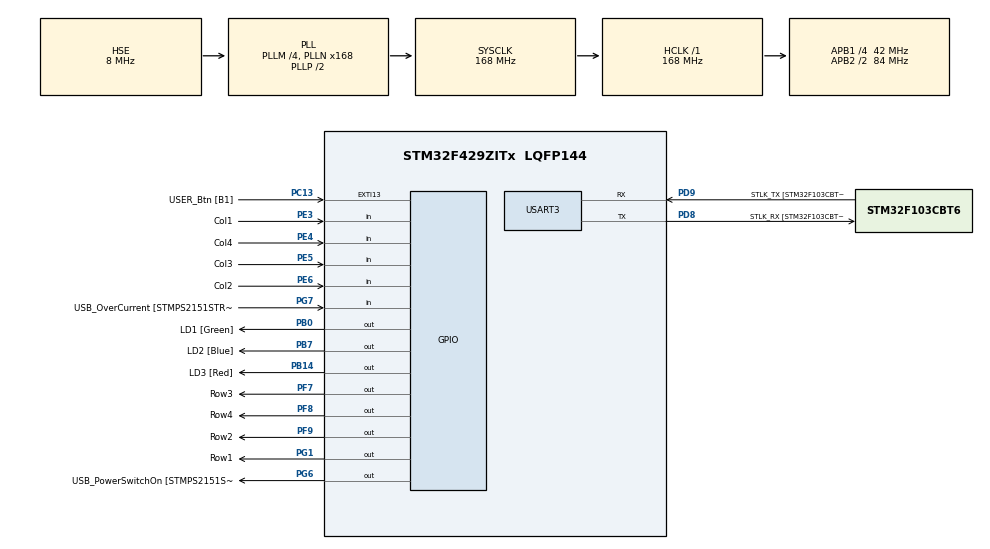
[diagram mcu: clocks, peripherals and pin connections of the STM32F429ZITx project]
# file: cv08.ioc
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Mcu.Family=STM32F4
Mcu.Name=STM32F429ZITx
Mcu.Package=LQFP144
NVIC.PriorityGroup=NVIC_PRIORITYGROUP_4
NVIC.TIM3_IRQn=true\:0\:0\:false\:false\:true\:true\:true
PA1.GPIO_Label=RMII_REF_CLK [LAN8742A-CZ-TR_REFCLK0]
PA1.Signal=ETH_REF_CLK
PA10.GPIO_Label=USB_ID
PA10.Signal=USB_OTG_FS_ID
PA11.GPIO_Label=USB_DM
PA11.Signal=USB_OTG_FS_DM
PA12.GPIO_Label=USB_DP
PA12.Signal=USB_OTG_FS_DP
PA13.GPIO_Label=TMS
PA13.Mode=Serial_Wire
PA13.Signal=SYS_JTMS-SWDIO
PA14.GPIO_Label=TCK
PA14.Mode=Serial_Wire
PA14.Signal=SYS_JTCK-SWCLK
PA2.GPIO_Label=RMII_MDIO [LAN8742A-CZ-TR_MDIO]
PA2.Signal=ETH_MDIO
PA7.GPIO_Label=RMII_CRS_DV [LAN8742A-CZ-TR_CRS_DV]
PA7.Signal=ETH_CRS_DV
PA8.GPIO_Label=USB_SOF [TP1]
PA8.Signal=USB_OTG_FS_SOF
PA9.GPIO_Label=USB_VBUS
PA9.Signal=USB_OTG_FS_VBUS
PB0.GPIO_Label=LD1 [Green]
PB0.Signal=GPIO_Output
PB13.GPIO_Label=RMII_TXD1 [LAN8742A-CZ-TR_TXD1]
PB13.Signal=ETH_TXD1
PB14.GPIO_Label=LD3 [Red]
PB14.Signal=GPIO_Output
PB7.GPIO_Label=LD2 [Blue]
PB7.Signal=GPIO_Output
PC1.GPIO_Label=RMII_MDC [LAN8742A-CZ-TR_MDC]
PC1.Signal=ETH_MDC
PC13.GPIO_Label=USER_Btn [B1]
PC13.Signal=GPXTI13
PC14/OSC32_IN.Mode=LSE-External-Oscillator
PC14/OSC32_IN.Signal=RCC_OSC32_IN
PC15/OSC32_OUT.Mode=LSE-External-Oscillator
PC15/OSC32_OUT.Signal=RCC_OSC32_OUT
PC4.GPIO_Label=RMII_RXD0 [LAN8742A-CZ-TR_RXD0]
PC4.Signal=ETH_RXD0
PC5.GPIO_Label=RMII_RXD1 [LAN8742A-CZ-TR_RXD1]
PC5.Signal=ETH_RXD1
PD8.GPIO_Label=STLK_RX [STM32F103CBT6_PA3]
PD8.Mode=Asynchronous
PD8.Signal=USART3_TX
PD9.GPIO_Label=STLK_TX [STM32F103CBT6_PA2]
PD9.Mode=Asynchronous
PD9.Signal=USART3_RX
PE3.GPIO_Label=Col1
PE3.GPIO_PuPd=GPIO_PULLUP
PE3.Signal=GPIO_Input
PE4.GPIO_Label=Col4
PE4.GPIO_PuPd=GPIO_PULLUP
PE4.Signal=GPIO_Input
PE5.GPIO_Label=Col3
PE5.GPIO_PuPd=GPIO_PULLUP
PE5.Signal=GPIO_Input
PE6.GPIO_Label=Col2
PE6.GPIO_PuPd=GPIO_PULLUP
PE6.Signal=GPIO_Input
PF7.GPIO_Label=Row3
PF7.GPIO_ModeDefaultOutputPP=GPIO_MODE_OUTPUT_OD
PF7.Signal=GPIO_Output
PF8.GPIO_Label=Row4
PF8.GPIO_ModeDefaultOutputPP=GPIO_MODE_OUTPUT_OD
PF8.Signal=GPIO_Output
PF9.GPIO_Label=Row2
PF9.GPIO_ModeDefaultOutputPP=GPIO_MODE_OUTPUT_OD
PF9.Signal=GPIO_Output
PG1.GPIO_Label=Row1
PG1.GPIO_ModeDefaultOutputPP=GPIO_MODE_OUTPUT_OD
PG1.Signal=GPIO_Output
PG11.GPIO_Label=RMII_TX_EN [LAN8742A-CZ-TR_TXEN]
PG11.Signal=ETH_TX_EN
PG13.GPIO_Label=RMII_TXD0 [LAN8742A-CZ-TR_TXD0]
PG13.Signal=ETH_TXD0
PG6.GPIO_Label=USB_PowerSwitchOn [STMPS2151STR_EN]
PG6.Signal=GPIO_Output
PG7.GPIO_Label=USB_OverCurrent [STMPS2151STR_FAULT]
PG7.Signal=GPIO_Input
PH0/OSC_IN.GPIO_Label=MCO [STM32F103CBT6_PA8]
PH0/OSC_IN.Mode=HSE-External-Clock-Source
PH0/OSC_IN.Signal=RCC_OSC_IN
PH1/OSC_OUT.Mode=HSE-External-Clock-Source
PH1/OSC_OUT.Signal=RCC_OSC_OUT
ProjectManager.HeapSize=0x200
ProjectManager.StackSize=0x400
ProjectManager.TargetToolchain=STM32CubeIDE
RCC.48MHZClocksFreq_Value=48000000
RCC.AHBFreq_Value=168000000
RCC.APB1CLKDivider=RCC_HCLK_DIV4
RCC.APB1Freq_Value=42000000
RCC.APB1TimFreq_Value=84000000
RCC.APB2CLKDivider=RCC_HCLK_DIV2
RCC.APB2Freq_Value=84000000
RCC.APB2TimCLKDivider=2
RCC.APB2TimFreq_Value=168000000
RCC.CortexFreq_Value=168000000
RCC.HCLKFreq_Value=168000000
RCC.HSE_VALUE=8000000
RCC.HSI_VALUE=16000000
RCC.PLLM=4
RCC.PLLMUL=RCC_PLL_MUL9
RCC.PLLN=168
RCC.PLLQ=7
RCC.PLLSourceVirtual=RCC_PLLSOURCE_HSE
RCC.PRESCALERUSB=RCC_USBCLKSOURCE_PLL_DIV1_5
RCC.SYSCLKFreq_VALUE=168000000
RCC.SYSCLKSource=RCC_SYSCLKSOURCE_PLLCLK
RCC.SYSCLKSourceVirtual=RCC_SYSCLKSOURCE_PLLCLK
RCC.USBFreq_Value=48000000
RCC.VCOOutputFreq_Value=336000000
TIM3.AutoReloadPreload=TIM_AUTORELOAD_PRELOAD_ENABLE
TIM3.Period=99
TIM3.Prescaler=8399
USART3.VirtualMode=VM_ASYNC
VP_TIM3_VS_ClockSourceINT.Mode=Internal
board=NUCLEO-F429ZI

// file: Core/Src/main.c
/* USER CODE BEGIN Header */
/**
  ******************************************************************************
  * @file           : main.c
  * @brief          : Main program body
  ******************************************************************************
  * @attention
  *
  * <h2><center>&copy; Copyright (c) 2021 STMicroelectronics.
  * All rights reserved.</center></h2>
  *
  * This software component is licensed by ST under BSD 3-Clause license,
  * the "License"; You may not use this file except in compliance with the
  * License. You may obtain a copy of the License at:
  *                        opensource.org/licenses/BSD-3-Clause
  *
  ******************************************************************************
  */
/* USER CODE END Header */
#include "main.h"

/* USER CODE BEGIN Includes */
#include "stdio.h"
/* USER CODE END Includes */

TIM_HandleTypeDef htim3;

UART_HandleTypeDef huart3;

/* USER CODE BEGIN PV */
static volatile int8_t key;
static volatile int8_t pos=0;
static const int16_t kod[] = { 7, 9, 3, 2, 12 };
/* USER CODE END PV */

void SystemClock_Config(void);
static void MX_GPIO_Init(void);
static void MX_USART3_UART_Init(void);
static void MX_TIM3_Init(void);
/* USER CODE BEGIN PFP */
void zamek(){

	uint32_t time;
	static uint32_t new_time;
	time=HAL_GetTick();

	if(time>new_time){
		new_time=time+3000;
		pos=0;
	}

	if (key == kod[pos]){
		pos++;
		new_time=time+3000;
		if (pos==sizeof(kod)){
			HAL_GPIO_WritePin(LD1_GPIO_Port,LD1_Pin,GPIO_PIN_SET);
			pos=0;
		}
	}
	else{
		pos = 0;
	}

}

/* USER CODE END PFP */

/* USER CODE BEGIN 0 */
int __io_putchar(int ch)
{
 ITM_SendChar(ch);
return 0;
}

/* USER CODE END 0 */

int main(void)
{

  /* MCU Configuration--------------------------------------------------------*/

  /* Reset of all peripherals, Initializes the Flash interface and the Systick. */
  HAL_Init();

  /* Configure the system clock */
  SystemClock_Config();

  /* Initialize all configured peripherals */
  MX_GPIO_Init();
  MX_USART3_UART_Init();
  MX_TIM3_Init();
  /* USER CODE BEGIN 2 */
  HAL_TIM_Base_Start_IT(&htim3);
  /* USER CODE END 2 */

  /* Infinite loop */
  while (1)
  {

    /* USER CODE BEGIN 3 */
/*	  HAL_GPIO_TogglePin(LD1_GPIO_Port, LD1_Pin);
	  HAL_Delay(250);
	  printf("Tick\n");*/

	  if (key != -1){
	  	printf("Stisknuto:%d\n", key);
	  	zamek();
	  	HAL_Delay(500);
	  	key = -1;
	  }

  }
  /* USER CODE END 3 */
}

void SystemClock_Config(void)
{
  RCC_OscInitTypeDef RCC_OscInitStruct = {0};
  RCC_ClkInitTypeDef RCC_ClkInitStruct = {0};

  /** Configure the main internal regulator output voltage
  */
  __HAL_RCC_PWR_CLK_ENABLE();
  __HAL_PWR_VOLTAGESCALING_CONFIG(PWR_REGULATOR_VOLTAGE_SCALE1);
  /** Initializes the RCC Oscillators according to the specified parameters
  * in the RCC_OscInitTypeDef structure.
  */
  RCC_OscInitStruct.OscillatorType = RCC_OSCILLATORTYPE_HSE;
  RCC_OscInitStruct.HSEState = RCC_HSE_BYPASS;
  RCC_OscInitStruct.PLL.PLLState = RCC_PLL_ON;
  RCC_OscInitStruct.PLL.PLLSource = RCC_PLLSOURCE_HSE;
  RCC_OscInitStruct.PLL.PLLM = 4;
  RCC_OscInitStruct.PLL.PLLN = 168;
  RCC_OscInitStruct.PLL.PLLP = RCC_PLLP_DIV2;
  RCC_OscInitStruct.PLL.PLLQ = 7;
  if (HAL_RCC_OscConfig(&RCC_OscInitStruct) != HAL_OK)
  {
    Error_Handler();
  }
  /** Initializes the CPU, AHB and APB buses clocks
  */
  RCC_ClkInitStruct.ClockType = RCC_CLOCKTYPE_HCLK|RCC_CLOCKTYPE_SYSCLK
                              |RCC_CLOCKTYPE_PCLK1|RCC_CLOCKTYPE_PCLK2;
  RCC_ClkInitStruct.SYSCLKSource = RCC_SYSCLKSOURCE_PLLCLK;
  RCC_ClkInitStruct.AHBCLKDivider = RCC_SYSCLK_DIV1;
  RCC_ClkInitStruct.APB1CLKDivider = RCC_HCLK_DIV4;
  RCC_ClkInitStruct.APB2CLKDivider = RCC_HCLK_DIV2;

  if (HAL_RCC_ClockConfig(&RCC_ClkInitStruct, FLASH_LATENCY_5) != HAL_OK)
  {
    Error_Handler();
  }
}

static void MX_TIM3_Init(void)
{

  TIM_ClockConfigTypeDef sClockSourceConfig = {0};
  TIM_MasterConfigTypeDef sMasterConfig = {0};

  htim3.Instance = TIM3;
  htim3.Init.Prescaler = 8399;
  htim3.Init.CounterMode = TIM_COUNTERMODE_UP;
  htim3.Init.Period = 99;
  htim3.Init.ClockDivision = TIM_CLOCKDIVISION_DIV1;
  htim3.Init.AutoReloadPreload = TIM_AUTORELOAD_PRELOAD_ENABLE;
  if (HAL_TIM_Base_Init(&htim3) != HAL_OK)
  {
    Error_Handler();
  }
  sClockSourceConfig.ClockSource = TIM_CLOCKSOURCE_INTERNAL;
  if (HAL_TIM_ConfigClockSource(&htim3, &sClockSourceConfig) != HAL_OK)
  {
    Error_Handler();
  }
  sMasterConfig.MasterOutputTrigger = TIM_TRGO_RESET;
  sMasterConfig.MasterSlaveMode = TIM_MASTERSLAVEMODE_DISABLE;
  if (HAL_TIMEx_MasterConfigSynchronization(&htim3, &sMasterConfig) != HAL_OK)
  {
    Error_Handler();
  }

}

static void MX_USART3_UART_Init(void)
{

  huart3.Instance = USART3;
  huart3.Init.BaudRate = 115200;
  huart3.Init.WordLength = UART_WORDLENGTH_8B;
  huart3.Init.StopBits = UART_STOPBITS_1;
  huart3.Init.Parity = UART_PARITY_NONE;
  huart3.Init.Mode = UART_MODE_TX_RX;
  huart3.Init.HwFlowCtl = UART_HWCONTROL_NONE;
  huart3.Init.OverSampling = UART_OVERSAMPLING_16;
  if (HAL_UART_Init(&huart3) != HAL_OK)
  {
    Error_Handler();
  }

}

static void MX_GPIO_Init(void)
{
  GPIO_InitTypeDef GPIO_InitStruct = {0};

  /* GPIO Ports Clock Enable */
  __HAL_RCC_GPIOE_CLK_ENABLE();
  __HAL_RCC_GPIOC_CLK_ENABLE();
  __HAL_RCC_GPIOF_CLK_ENABLE();
  __HAL_RCC_GPIOH_CLK_ENABLE();
  __HAL_RCC_GPIOA_CLK_ENABLE();
  __HAL_RCC_GPIOB_CLK_ENABLE();
  __HAL_RCC_GPIOG_CLK_ENABLE();
  __HAL_RCC_GPIOD_CLK_ENABLE();

  /*Configure GPIO pin Output Level */
  HAL_GPIO_WritePin(GPIOF, Row3_Pin|Row4_Pin|Row2_Pin, GPIO_PIN_RESET);

  /*Configure GPIO pin Output Level */
  HAL_GPIO_WritePin(GPIOB, LD1_Pin|LD3_Pin|LD2_Pin, GPIO_PIN_RESET);

  /*Configure GPIO pin Output Level */
  HAL_GPIO_WritePin(GPIOG, Row1_Pin|USB_PowerSwitchOn_Pin, GPIO_PIN_RESET);

  /*Configure GPIO pins : Col1_Pin Col4_Pin Col3_Pin Col2_Pin */
  GPIO_InitStruct.Pin = Col1_Pin|Col4_Pin|Col3_Pin|Col2_Pin;
  GPIO_InitStruct.Mode = GPIO_MODE_INPUT;
  GPIO_InitStruct.Pull = GPIO_PULLUP;
  HAL_GPIO_Init(GPIOE, &GPIO_InitStruct);

  /*Configure GPIO pin : USER_Btn_Pin */
  GPIO_InitStruct.Pin = USER_Btn_Pin;
  GPIO_InitStruct.Mode = GPIO_MODE_IT_RISING;
  GPIO_InitStruct.Pull = GPIO_NOPULL;
  HAL_GPIO_Init(USER_Btn_GPIO_Port, &GPIO_InitStruct);

  /*Configure GPIO pins : Row3_Pin Row4_Pin Row2_Pin */
  GPIO_InitStruct.Pin = Row3_Pin|Row4_Pin|Row2_Pin;
  GPIO_InitStruct.Mode = GPIO_MODE_OUTPUT_OD;
  GPIO_InitStruct.Pull = GPIO_NOPULL;
  GPIO_InitStruct.Speed = GPIO_SPEED_FREQ_LOW;
  HAL_GPIO_Init(GPIOF, &GPIO_InitStruct);

  /*Configure GPIO pins : RMII_MDC_Pin RMII_RXD0_Pin RMII_RXD1_Pin */
  GPIO_InitStruct.Pin = RMII_MDC_Pin|RMII_RXD0_Pin|RMII_RXD1_Pin;
  GPIO_InitStruct.Mode = GPIO_MODE_AF_PP;
  GPIO_InitStruct.Pull = GPIO_NOPULL;
  GPIO_InitStruct.Speed = GPIO_SPEED_FREQ_VERY_HIGH;
  GPIO_InitStruct.Alternate = GPIO_AF11_ETH;
  HAL_GPIO_Init(GPIOC, &GPIO_InitStruct);

  /*Configure GPIO pins : RMII_REF_CLK_Pin RMII_MDIO_Pin RMII_CRS_DV_Pin */
  GPIO_InitStruct.Pin = RMII_REF_CLK_Pin|RMII_MDIO_Pin|RMII_CRS_DV_Pin;
  GPIO_InitStruct.Mode = GPIO_MODE_AF_PP;
  GPIO_InitStruct.Pull = GPIO_NOPULL;
  GPIO_InitStruct.Speed = GPIO_SPEED_FREQ_VERY_HIGH;
  GPIO_InitStruct.Alternate = GPIO_AF11_ETH;
  HAL_GPIO_Init(GPIOA, &GPIO_InitStruct);

  /*Configure GPIO pins : LD1_Pin LD3_Pin LD2_Pin */
  GPIO_InitStruct.Pin = LD1_Pin|LD3_Pin|LD2_Pin;
  GPIO_InitStruct.Mode = GPIO_MODE_OUTPUT_PP;
  GPIO_InitStruct.Pull = GPIO_NOPULL;
  GPIO_InitStruct.Speed = GPIO_SPEED_FREQ_LOW;
  HAL_GPIO_Init(GPIOB, &GPIO_InitStruct);

  /*Configure GPIO pin : Row1_Pin */
  GPIO_InitStruct.Pin = Row1_Pin;
  GPIO_InitStruct.Mode = GPIO_MODE_OUTPUT_OD;
  GPIO_InitStruct.Pull = GPIO_NOPULL;
  GPIO_InitStruct.Speed = GPIO_SPEED_FREQ_LOW;
  HAL_GPIO_Init(Row1_GPIO_Port, &GPIO_InitStruct);

  /*Configure GPIO pin : RMII_TXD1_Pin */
  GPIO_InitStruct.Pin = RMII_TXD1_Pin;
  GPIO_InitStruct.Mode = GPIO_MODE_AF_PP;
  GPIO_InitStruct.Pull = GPIO_NOPULL;
  GPIO_InitStruct.Speed = GPIO_SPEED_FREQ_VERY_HIGH;
  GPIO_InitStruct.Alternate = GPIO_AF11_ETH;
  HAL_GPIO_Init(RMII_TXD1_GPIO_Port, &GPIO_InitStruct);

  /*Configure GPIO pin : USB_PowerSwitchOn_Pin */
  GPIO_InitStruct.Pin = USB_PowerSwitchOn_Pin;
  GPIO_InitStruct.Mode = GPIO_MODE_OUTPUT_PP;
  GPIO_InitStruct.Pull = GPIO_NOPULL;
  GPIO_InitStruct.Speed = GPIO_SPEED_FREQ_LOW;
  HAL_GPIO_Init(USB_PowerSwitchOn_GPIO_Port, &GPIO_InitStruct);

  /*Configure GPIO pin : USB_OverCurrent_Pin */
  GPIO_InitStruct.Pin = USB_OverCurrent_Pin;
  GPIO_InitStruct.Mode = GPIO_MODE_INPUT;
  GPIO_InitStruct.Pull = GPIO_NOPULL;
  HAL_GPIO_Init(USB_OverCurrent_GPIO_Port, &GPIO_InitStruct);

  /*Configure GPIO pins : USB_SOF_Pin USB_ID_Pin USB_DM_Pin USB_DP_Pin */
  GPIO_InitStruct.Pin = USB_SOF_Pin|USB_ID_Pin|USB_DM_Pin|USB_DP_Pin;
  GPIO_InitStruct.Mode = GPIO_MODE_AF_PP;
  GPIO_InitStruct.Pull = GPIO_NOPULL;
  GPIO_InitStruct.Speed = GPIO_SPEED_FREQ_VERY_HIGH;
  GPIO_InitStruct.Alternate = GPIO_AF10_OTG_FS;
  HAL_GPIO_Init(GPIOA, &GPIO_InitStruct);

  /*Configure GPIO pin : USB_VBUS_Pin */
  GPIO_InitStruct.Pin = USB_VBUS_Pin;
  GPIO_InitStruct.Mode = GPIO_MODE_INPUT;
  GPIO_InitStruct.Pull = GPIO_NOPULL;
  HAL_GPIO_Init(USB_VBUS_GPIO_Port, &GPIO_InitStruct);

  /*Configure GPIO pins : RMII_TX_EN_Pin RMII_TXD0_Pin */
  GPIO_InitStruct.Pin = RMII_TX_EN_Pin|RMII_TXD0_Pin;
  GPIO_InitStruct.Mode = GPIO_MODE_AF_PP;
  GPIO_InitStruct.Pull = GPIO_NOPULL;
  GPIO_InitStruct.Speed = GPIO_SPEED_FREQ_VERY_HIGH;
  GPIO_InitStruct.Alternate = GPIO_AF11_ETH;
  HAL_GPIO_Init(GPIOG, &GPIO_InitStruct);

}

/* USER CODE BEGIN 4 */
void HAL_TIM_PeriodElapsedCallback(TIM_HandleTypeDef *htim)
{
 static int row = 0;
 static const int keyboard[4][4] = {
 { 1, 2, 3, 21 },
 { 4, 5, 6, 22 },
 { 7, 8, 9, 23 },
 { 11, 0, 12, 24 },
 };
 if (key == -1) {
 if (HAL_GPIO_ReadPin(Col1_GPIO_Port, Col1_Pin) == GPIO_PIN_RESET) key = keyboard[row][0];
 if (HAL_GPIO_ReadPin(Col2_GPIO_Port, Col2_Pin) == GPIO_PIN_RESET) key = keyboard[row][1];
 if (HAL_GPIO_ReadPin(Col3_GPIO_Port, Col3_Pin) == GPIO_PIN_RESET) key = keyboard[row][2];
 if (HAL_GPIO_ReadPin(Col4_GPIO_Port, Col4_Pin) == GPIO_PIN_RESET) key = keyboard[row][3];
 }
 HAL_GPIO_WritePin(Row1_GPIO_Port, Row1_Pin, GPIO_PIN_SET);
 HAL_GPIO_WritePin(Row2_GPIO_Port, Row2_Pin, GPIO_PIN_SET);
 HAL_GPIO_WritePin(Row3_GPIO_Port, Row3_Pin, GPIO_PIN_SET);
 HAL_GPIO_WritePin(Row4_GPIO_Port, Row4_Pin, GPIO_PIN_SET);
 switch (row) {
 case 0: row = 1; HAL_GPIO_WritePin(Row2_GPIO_Port, Row2_Pin, GPIO_PIN_RESET); break;
 case 1: row = 2; HAL_GPIO_WritePin(Row3_GPIO_Port, Row3_Pin, GPIO_PIN_RESET); break;
 case 2: row = 3; HAL_GPIO_WritePin(Row4_GPIO_Port, Row4_Pin, GPIO_PIN_RESET); break;
 case 3: row = 0; HAL_GPIO_WritePin(Row1_GPIO_Port, Row1_Pin, GPIO_PIN_RESET); break;
 }
}

/* USER CODE END 4 */

void Error_Handler(void)
{
  __disable_irq();
  while (1)
  {
  }
}

/************************ (C) COPYRIGHT STMicroelectronics *****END OF FILE****/
